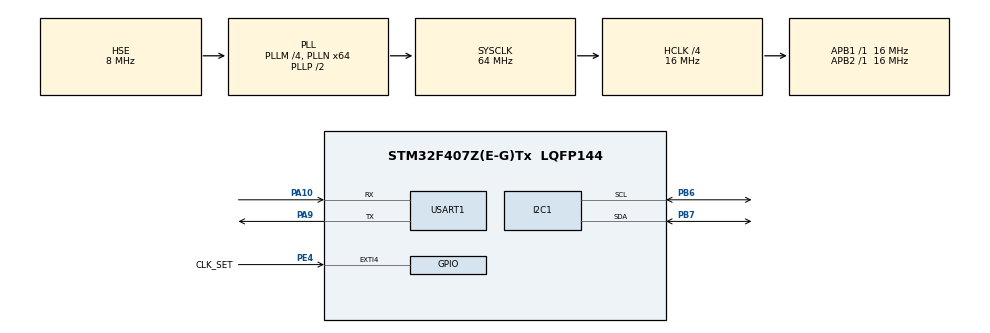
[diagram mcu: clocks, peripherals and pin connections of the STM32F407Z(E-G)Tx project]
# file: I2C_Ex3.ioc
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I2C1.I2C_Mode=I2C_Standard
Mcu.Family=STM32F4
Mcu.Name=STM32F407Z(E-G)Tx
Mcu.Package=LQFP144
NVIC.PriorityGroup=NVIC_PRIORITYGROUP_4
PA10.Mode=Asynchronous
PA10.Signal=USART1_RX
PA13.Mode=Serial_Wire
PA13.Signal=SYS_JTMS-SWDIO
PA14.Mode=Serial_Wire
PA14.Signal=SYS_JTCK-SWCLK
PA9.Mode=Asynchronous
PA9.Signal=USART1_TX
PB6.Mode=I2C
PB6.Signal=I2C1_SCL
PB7.Mode=I2C
PB7.Signal=I2C1_SDA
PE4.GPIO_Label=CLK_SET
PE4.GPIO_ModeDefaultEXTI=GPIO_MODE_IT_FALLING
PE4.GPIO_PuPd=GPIO_PULLUP
PE4.Signal=GPXTI4
PH0-OSC_IN.Mode=HSE-External-Oscillator
PH0-OSC_IN.Signal=RCC_OSC_IN
PH1-OSC_OUT.Mode=HSE-External-Oscillator
PH1-OSC_OUT.Signal=RCC_OSC_OUT
ProjectManager.HeapSize=0x200
ProjectManager.StackSize=0x400
ProjectManager.TargetToolchain=EWARM V8.50
RCC.48MHZClocksFreq_Value=32000000
RCC.AHBCLKDivider=RCC_SYSCLK_DIV4
RCC.AHBFreq_Value=16000000
RCC.APB1Freq_Value=16000000
RCC.APB1TimFreq_Value=16000000
RCC.APB2Freq_Value=16000000
RCC.APB2TimFreq_Value=16000000
RCC.CortexFreq_Value=16000000
RCC.HCLKFreq_Value=16000000
RCC.HSE_VALUE=8000000
RCC.HSI_VALUE=16000000
RCC.LSE_VALUE=32768
RCC.PLLM=4
RCC.PLLN=64
RCC.PLLSourceVirtual=RCC_PLLSOURCE_HSE
RCC.SYSCLKFreq_VALUE=64000000
RCC.SYSCLKSource=RCC_SYSCLKSOURCE_PLLCLK
RCC.VCOOutputFreq_Value=128000000
USART1.VirtualMode=VM_ASYNC
board=custom

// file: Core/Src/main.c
/* USER CODE BEGIN Header */
/**
  ******************************************************************************
  * @file           : main.c
  * @brief          : Main program body
  ******************************************************************************
  * @attention
  *
  * Copyright (c) 2025 STMicroelectronics.
  * All rights reserved.
  *
  * This software is licensed under terms that can be found in the LICENSE file
  * in the root directory of this software component.
  * If no LICENSE file comes with this software, it is provided AS-IS.
  *
  ******************************************************************************
  */
/* USER CODE END Header */
#include "main.h"
#include "i2c.h"
#include "usart.h"
#include "gpio.h"

/* USER CODE BEGIN Includes */
#include "stdio.h"
#include "string.h"
#include "ds3231.h"
/* USER CODds3231.hE END Includes */

/* USER CODE BEGIN PV */
uint8_t getDataTime = 0;
uint8_t initDs3231 = 0;
/* USER CODE END PV */

void SystemClock_Config(void);

int main(void)
{

  /* USER CODE BEGIN 1 */
  char data[40];
  /* USER CODE END 1 */

  /* MCU Configuration--------------------------------------------------------*/

  /* Reset of all peripherals, Initializes the Flash interface and the Systick. */
  HAL_Init();

  /* Configure the system clock */
  SystemClock_Config();

  /* Initialize all configured peripherals */
  MX_GPIO_Init();
  MX_I2C1_Init();
  MX_USART1_UART_Init();
  /* USER CODE BEGIN 2 */
  HAL_UART_Transmit(&huart1, "Initializing the DS3231 \r\n", 26, 10);
  DS3231_Init(&hi2c1);
  /* USER CODE END 2 */

  /* Infinite loop */
  /* USER CODE BEGIN WHILE */
  while (1)
  {
    if(getDataTime)
    {
      getDataTime = 0;
      sprintf(data, "Date: %04d/%02d/%02d - Time: %02d:%02d:%02d\r\n",
              DS3231_GetYear(), DS3231_GetMonth(), DS3231_GetDate(),
              DS3231_GetHour(), DS3231_GetMinute(), DS3231_GetSecond());
      HAL_UART_Transmit(&huart1, (uint8_t *)data, strlen(data), 10);
    }
    if(initDs3231)
    {
      initDs3231 = 0;
      HAL_UART_Transmit(&huart1, "ReInitializing the DS3231\r\n", 27, 10);
      DS3231_SetFullDate(21, 12, 1, 2025);
      DS3231_SetFullTime(10, 00, 0);
    }
  /* USER CODE END WHILE */

  }
}

void SystemClock_Config(void)
{
  RCC_OscInitTypeDef RCC_OscInitStruct = {0};
  RCC_ClkInitTypeDef RCC_ClkInitStruct = {0};

  /** Configure the main internal regulator output voltage
  */
  __HAL_RCC_PWR_CLK_ENABLE();
  __HAL_PWR_VOLTAGESCALING_CONFIG(PWR_REGULATOR_VOLTAGE_SCALE1);

  /** Initializes the RCC Oscillators according to the specified parameters
  * in the RCC_OscInitTypeDef structure.
  */
  RCC_OscInitStruct.OscillatorType = RCC_OSCILLATORTYPE_HSE;
  RCC_OscInitStruct.HSEState = RCC_HSE_ON;
  RCC_OscInitStruct.PLL.PLLState = RCC_PLL_ON;
  RCC_OscInitStruct.PLL.PLLSource = RCC_PLLSOURCE_HSE;
  RCC_OscInitStruct.PLL.PLLM = 4;
  RCC_OscInitStruct.PLL.PLLN = 64;
  RCC_OscInitStruct.PLL.PLLP = RCC_PLLP_DIV2;
  RCC_OscInitStruct.PLL.PLLQ = 4;
  if (HAL_RCC_OscConfig(&RCC_OscInitStruct) != HAL_OK)
  {
    Error_Handler();
  }

  /** Initializes the CPU, AHB and APB buses clocks
  */
  RCC_ClkInitStruct.ClockType = RCC_CLOCKTYPE_HCLK|RCC_CLOCKTYPE_SYSCLK
                              |RCC_CLOCKTYPE_PCLK1|RCC_CLOCKTYPE_PCLK2;
  RCC_ClkInitStruct.SYSCLKSource = RCC_SYSCLKSOURCE_PLLCLK;
  RCC_ClkInitStruct.AHBCLKDivider = RCC_SYSCLK_DIV4;
  RCC_ClkInitStruct.APB1CLKDivider = RCC_HCLK_DIV1;
  RCC_ClkInitStruct.APB2CLKDivider = RCC_HCLK_DIV1;

  if (HAL_RCC_ClockConfig(&RCC_ClkInitStruct, FLASH_LATENCY_0) != HAL_OK)
  {
    Error_Handler();
  }
}

void Error_Handler(void)
{
  __disable_irq();
  while (1)
  {
  }
}
